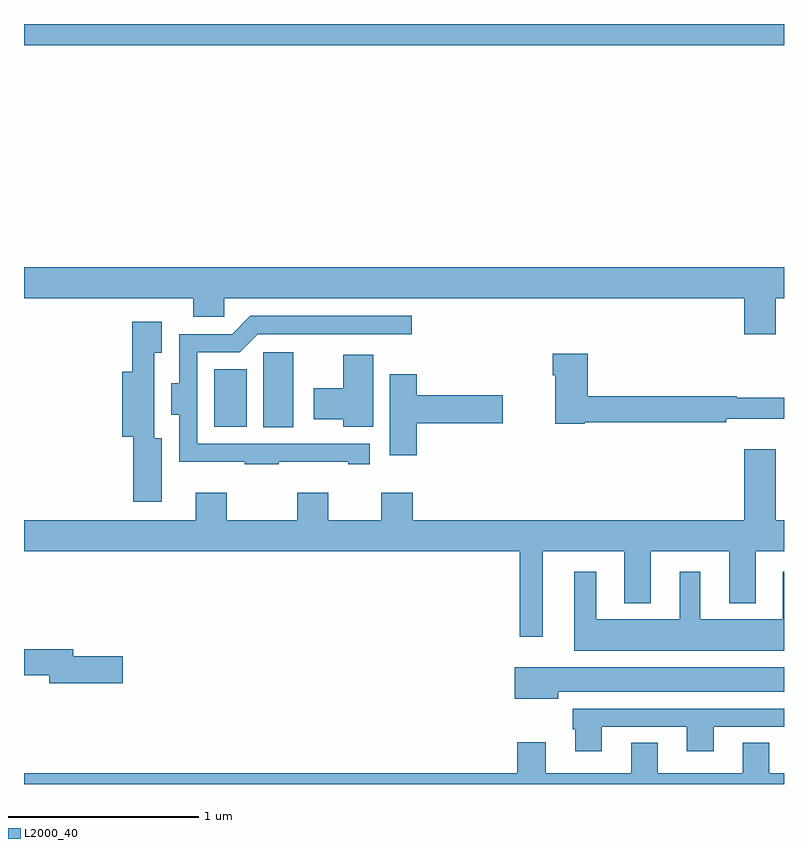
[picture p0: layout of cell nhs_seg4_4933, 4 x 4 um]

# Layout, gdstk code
import gdstk
lib = gdstk.Library(unit=1e-6, precision=1e-09)
def R(c, l, rs):  # rectangles x0, y0, x1, y1
    for r in rs: c.add(gdstk.rectangle(r[:2], r[2:], *l))
def P(c, l, *ps):  # polygons
    for p in ps: c.add(gdstk.Polygon(p, *l))
L2000_40 = (2000, 40)

nhs_seg4_4933 = lib.new_cell('nhs_seg4_4933')
R(nhs_seg4_4933, L2000_40, [(378.26,826.777,378.418,827.173), (378.002,826.781,378.172,827.083), (377,828.788,381,828.9)])
P(nhs_seg4_4933, L2000_40, [(380.956,827.456),(381,827.456),(381,827.62),(377,827.62),(377,827.456),(377.891,827.456),(377.891,827.358),(378.054,827.358),(378.054,827.456),(380.792,827.456),(380.792,827.268),(380.956,827.268)],
  [(378.341,826.595),(378.707,826.595),(378.707,826.584),(378.82,826.584),(378.82,826.692),(377.913,826.692),(377.913,827.172),(378.135,827.172),(378.231,827.268),(379.042,827.268),(379.042,827.364),(378.192,827.364),(378.096,827.268),(377.816,827.268),(377.816,827.008),(377.774,827.008),(377.774,826.844),(377.817,826.844),(377.817,826.595),(378.163,826.595),(378.163,826.584),(378.341,826.584)],
  [(377.725,826.72),(377.686,826.72),(377.686,827.171),(377.725,827.171),(377.725,827.332),(377.569,827.332),(377.569,827.071),(377.516,827.071),(377.516,826.727),(377.576,826.727),(377.576,826.386),(377.725,826.386)],
  [(379.95,826.804),(380.696,826.804),(380.696,826.823),(381,826.823),(381,826.933),(380.75,826.933),(380.75,826.94),(379.967,826.94),(379.967,827.164),(379.784,827.164),(379.784,827.051),(379.796,827.051),(379.796,826.796),(379.95,826.796)],
  [(378.838,827.158),(378.68,827.158),(378.68,826.984),(378.525,826.984),(378.525,826.82),(378.68,826.82),(378.68,826.781),(378.838,826.781)],
  [(379.067,826.799),(379.519,826.799),(379.519,826.946),(379.067,826.946),(379.067,827.056),(378.926,827.056),(378.926,826.629),(379.067,826.629)],
  [(379.729,826.124),(380.159,826.124),(380.159,825.851),(380.299,825.851),(380.299,826.124),(380.711,826.124),(380.711,825.851),(380.851,825.851),(380.851,826.124),(381,826.124),(381,826.288),(380.956,826.288),(380.956,826.663),(380.792,826.663),(380.792,826.288),(379.045,826.288),(379.045,826.432),(378.881,826.432),(378.881,826.288),(378.601,826.288),(378.601,826.432),(378.437,826.432),(378.437,826.288),(378.067,826.288),(378.067,826.432),(377.903,826.432),(377.903,826.288),(377,826.288),(377,826.124),(379.608,826.124),(379.608,825.675),(379.729,825.675)],
  [(381,826.018),(380.993,826.018),(380.993,825.766),(380.56,825.766),(380.56,826.018),(380.45,826.018),(380.45,825.766),(380.011,825.766),(380.011,826.018),(379.895,826.018),(379.895,825.602),(381,825.602)],
  [(377.521,825.572),(377.26,825.572),(377.26,825.608),(377,825.608),(377,825.472),(377.132,825.472),(377.132,825.43),(377.521,825.43)],
  [(379.813,825.386),(381,825.386),(381,825.514),(379.584,825.514),(379.584,825.35),(379.813,825.35)],
  [(380.041,825.201),(380.489,825.201),(380.489,825.072),(380.629,825.072),(380.629,825.201),(381,825.201),(381,825.297),(379.889,825.297),(379.889,825.189),(379.901,825.189),(379.901,825.072),(380.041,825.072)],
  [(381,824.956),(380.923,824.956),(380.923,825.116),(380.783,825.116),(380.783,824.956),(380.335,824.956),(380.335,825.116),(380.195,825.116),(380.195,824.956),(379.747,824.956),(379.747,825.121),(379.595,825.121),(379.595,824.956),(377,824.956),(377,824.9),(381,824.9)])

lib.write_gds('nhs_seg4_4933.gds')
